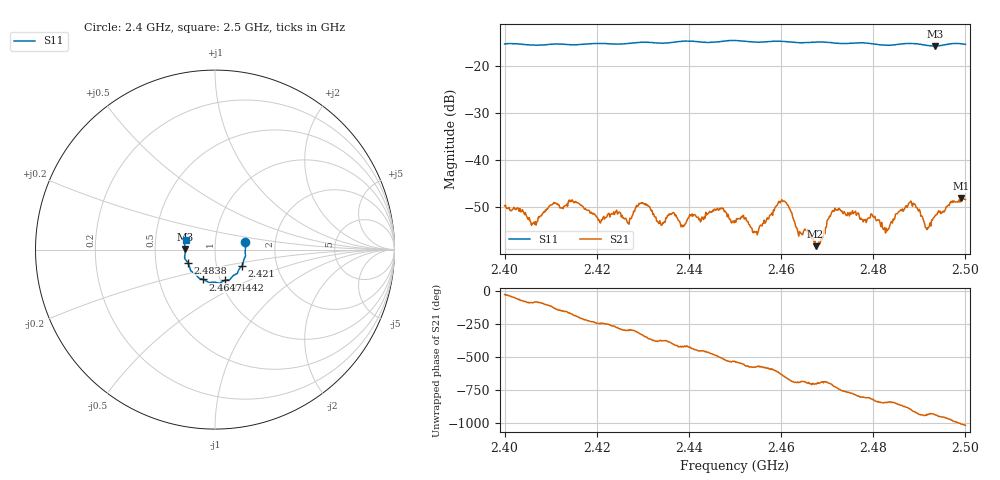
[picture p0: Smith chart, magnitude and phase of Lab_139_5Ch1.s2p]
# Hz S RI R 50
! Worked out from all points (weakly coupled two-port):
!   601 points, 2.4 GHz to 2.5 GHz, reference 50 ohm
!   highest |S21| = -48.10 dB at 2.499 GHz (marker M1); lowest = -58.2 dB at 2.4675 GHz (marker M2)
!   lowest |S11| = -15.7 dB at 2.4935 GHz (marker M3), VSWR 1.40, Z = 35.8 + j0.181 ohm
!   |S11| at or under -10 dB: start of sweep to end of sweep
!   S12 and S22 are empty: the file has one direction only
!   S11 on the Smith chart (normalised r, x): 2.4 GHz: 1.40, +0.12; 2.421 GHz: 1.33, -0.24; 2.4442 GHz: 1.05, -0.37; 2.4647 GHz: 0.83, -0.29; 2.4838 GHz: 0.73, -0.11; 2.5 GHz: 0.71, +0.08
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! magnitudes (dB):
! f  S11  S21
! 2.4 GHz  -15.2  -49.6
! 2.4063 GHz  -15.4  -53.1
! 2.4167 GHz  -15.3  -49.5
! 2.421 GHz  -15.1  -52.6
! 2.427 GHz  -15.1  -53.6
! 2.4297 GHz  -14.8  -49.0
! 2.4333 GHz  -15.0  -53.2
! 2.4442 GHz  -14.9  -51.4
! 2.45 GHz  -14.5  -52.8
! 2.4545 GHz  -14.8  -55.3
! 2.4605 GHz  -14.7  -48.7
! 2.4647 GHz  -14.9  -55.8
! 2.4667 GHz  -14.8  -56.6
! 2.4675 GHz  -14.8  -58.2
! 2.4722 GHz  -15.1  -50.5
! 2.4833 GHz  -15.5  -54.6
! 2.4838 GHz  -15.5  -53.2
! 2.4882 GHz  -15.1  -48.7
! 2.4917 GHz  -15.5  -54.7
! 2.4935 GHz  -15.7  -51.7
! 2.499 GHz  -15.2  -48.1
! 2.5 GHz  -15.3  -48.3
